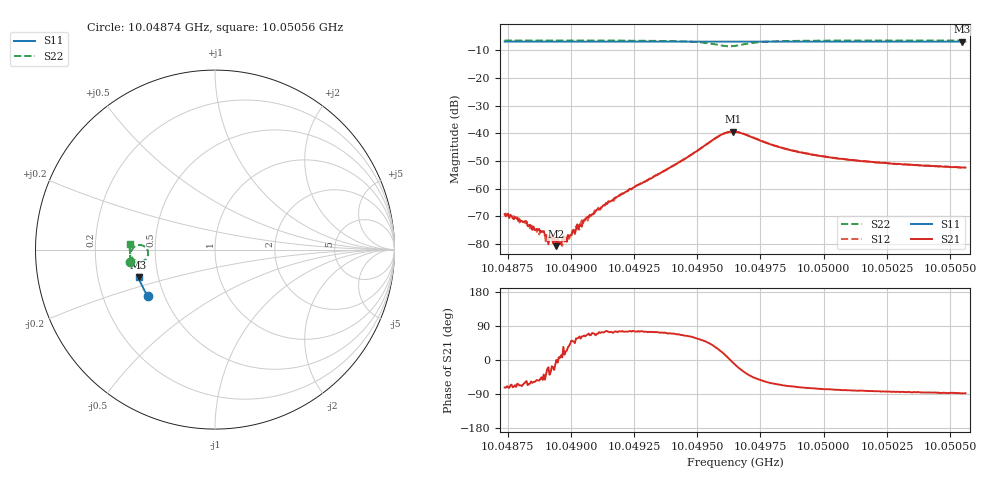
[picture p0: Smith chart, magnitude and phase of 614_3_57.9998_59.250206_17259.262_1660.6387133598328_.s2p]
#  HZ  S  RI  R  50.00
! Rohde & Schwarz Vector Network Analyzer
! Rohde-Schwarz,ZNB20-2Port,1311601062101988,3.16
! Created: UTC 3/21/2024, 1:17:52 AM
! freq[Hz]  re:S11  im:S11  re:S21  im:S21  re:S12  im:S12  re:S22  im:S22
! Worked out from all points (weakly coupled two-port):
!   401 points, 10.04874 GHz to 10.05056 GHz, reference 50 ohm
!   highest |S21| = -39.39 dB at 10.04964 GHz (marker M1); lowest = -80.8 dB at 10.04894 GHz (marker M2)
!   lowest |S11| = -6.9 dB at 10.05055 GHz (marker M3), VSWR 2.65, Z = 19.3 - j7.47 ohm
!   |S11| at or under -10 dB: nowhere
!   |S22| runs from -8.6 to -6.4 dB; largest |S21 - S12| = 0.0008
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1.0048737e10  -0.3741 -0.2598  0.000104 -0.000329  0.000146 -0.000301  -0.4715 -0.0689
1.0048815e10  -0.377 -0.2554  0.000122 -0.000224  0.000129 -0.000214  -0.4721 -0.063
1.0048838e10  -0.3778 -0.2542  0.000104 -0.000197  0.0001 -0.000164  -0.4722 -0.0612
1.0048883e10  -0.3794 -0.2517  0.00012 -0.000123  0.000103 -0.000133  -0.4724 -0.0575
1.0048902e10  -0.3799 -0.2505  0.000112 -8.54e-05  8.16e-05 -6.3e-05  -0.4724 -0.0561
1.0048924e10  -0.3808 -0.2493  0.00013 -3.86e-05  0.000118 -2.93e-05  -0.4725 -0.0541
1.0048943e10  -0.3815 -0.2483  9.14e-05 1.02e-07  8.67e-05 3.05e-05  -0.4726 -0.0526
1.0048952e10  -0.3817 -0.2478  9.8e-05 1.22e-05  0.000116 -1.42e-05  -0.4726 -0.0517
1.0048965e10  -0.3823 -0.2469  0.000119 1.44e-05  8.48e-05 3.63e-05  -0.4727 -0.0508
1.0048984e10  -0.3828 -0.2459  9.95e-05 4.64e-05  0.000102 6.82e-05  -0.4727 -0.0491
1.0049043e10  -0.3848 -0.2426  9.69e-05 0.000181  0.00013 0.000235  -0.4727 -0.0439
1.0049057e10  -0.3852 -0.2419  0.00013 0.000249  0.000101 0.000253  -0.4727 -0.0427
1.0049139e10  -0.3879 -0.2371  0.00013 0.000537  0.000115 0.000508  -0.4725 -0.035
1.0049348e10  -0.3946 -0.2249  0.00055 0.00178  0.000436 0.00179  -0.4673 -0.00956
1.0049585e10  -0.4012 -0.2107  0.00792 0.0041  0.0076 0.00464  -0.3936 0.0178
1.004964e10  -0.4023 -0.2079  0.0107 -0.00118  0.0107 -0.000417  -0.3741 -0.0329
1.0049649e10  -0.4026 -0.2075  0.0104 -0.00224  0.0106 -0.00149  -0.3775 -0.0422
1.0049831e10  -0.4083 -0.1972  0.00227 -0.00501  0.00258 -0.00491  -0.4612 -0.0468
1.0049955e10  -0.4116 -0.1897  0.0011 -0.00395  0.00132 -0.00394  -0.4708 -0.0267
1.005026e10  -0.4193 -0.1712  0.000349 -0.00285  0.000498 -0.00283  -0.4753 0.00532
1.0050547e10  -0.4255 -0.1535  9.28e-05 -0.00242  0.000238 -0.00239  -0.475 0.0283
1.0050561e10  -0.4259 -0.1525  0.000107 -0.00239  0.000232 -0.00239  -0.4748 0.0295
